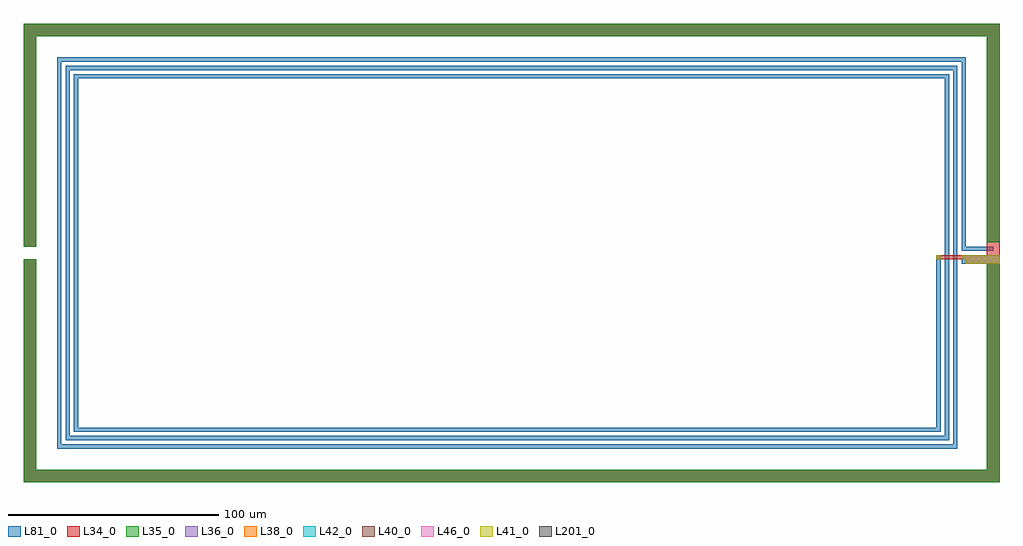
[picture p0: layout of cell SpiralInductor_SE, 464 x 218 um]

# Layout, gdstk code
import gdstk
lib = gdstk.Library(unit=1e-6, precision=1e-09)
def R(c, l, rs):  # rectangles x0, y0, x1, y1
    for r in rs: c.add(gdstk.rectangle(r[:2], r[2:], *l))
def P(c, l, *ps):  # polygons
    for p in ps: c.add(gdstk.Polygon(p, *l))
L34_0 = (34, 0)
L35_0 = (35, 0)
L36_0 = (36, 0)
L38_0 = (38, 0)
L40_0 = (40, 0)
L41_0 = (41, 0)
L42_0 = (42, 0)
L46_0 = (46, 0)
L81_0 = (81, 0)
L201_0 = (201, 0)

spiralinductor_se = lib.new_cell('SpiralInductor_SE')
R(spiralinductor_se, L34_0, [(-232,-109,232,-103), (-232,-109,-226,-3), (226,-109,232,109), (216,-5,232,-1), (202,-3,216,-1), (-232,3,-226,109), (-232,103,232,109)])
R(spiralinductor_se, L35_0, [(-232,-109,232,-103), (-232,-109,-226,-3), (226,-109,232,-5), (216,-5,232,-1), (202,-3,204,-1), (214,-3,216,-1), (-232,3,-226,109), (226,5,232,109), (-232,103,232,109)])
R(spiralinductor_se, L36_0, [(216,-5,232,-1), (202,-3,204,-1), (214,-3,216,-1)])
R(spiralinductor_se, L38_0, [(216,-5,232,-1), (202,-3,204,-1), (214,-3,216,-1)])
R(spiralinductor_se, L40_0, [(216,-5,232,-1), (202,-3,204,-1), (214,-3,216,-1)])
R(spiralinductor_se, L41_0, [(216,-5,232,-1), (202,-3,204,-1), (214,-3,216,-1)])
R(spiralinductor_se, L42_0, [(216,-5,232,-1), (202,-3,204,-1), (214,-3,216,-1)])
R(spiralinductor_se, L46_0, [(216,-5,232,-1), (202,-3,204,-1), (214,-3,216,-1)])
R(spiralinductor_se, L81_0, [(-232,-109,232,-103), (-232,-109,-226,-3), (226,-109,232,-5), (214,-5,232,-1), (-232,3,-226,109), (226,5,232,109), (-232,103,232,109)])
P(spiralinductor_se, L81_0, [(-216,-93),(-216,93),(216,93),(216,3),(229,3),(229,1),(214,1),(214,91),(-214,91),(-214,-91),(210,-91),(210,87),(-210,87),(-210,-87),(206,-87),(206,83),(-206,83),(-206,-83),(202,-83),(202,-1),(204,-1),(204,-85),(-208,-85),(-208,85),(208,85),(208,-89),(-212,-89),(-212,89),(212,89),(212,-93)])
P(spiralinductor_se, L201_0, [(229,1),(229,3),(229,3),(229,1)])

lib.write_gds('SpiralInductor_SE.gds')
